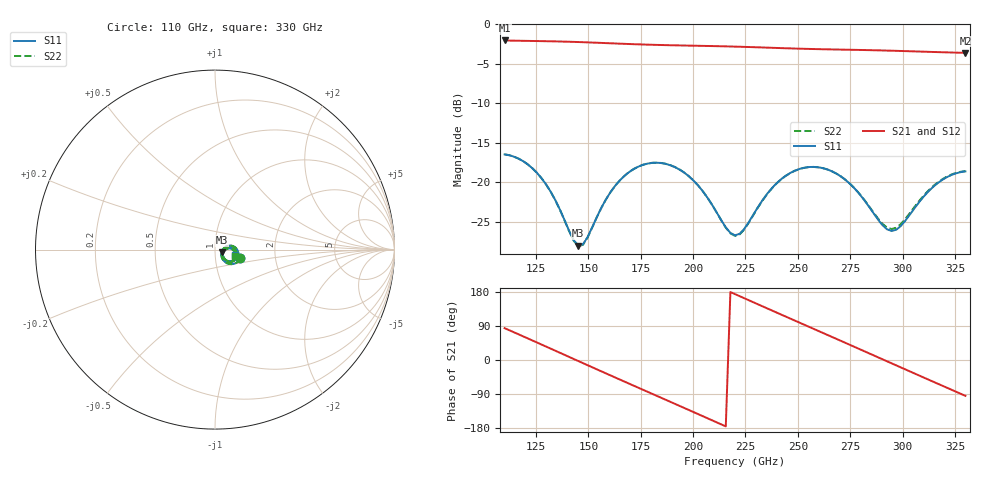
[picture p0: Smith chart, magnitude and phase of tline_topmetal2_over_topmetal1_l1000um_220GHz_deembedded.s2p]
! Created with skrf 2.2.0 (http://scikit-rf.org).
# GHz S DB R 50.0
! Port[1] = P1
! Port[2] = P2
!freq dBS11 angS11 dBS21 angS21 dBS12 angS12 dBS22 angS22
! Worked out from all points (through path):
!   101 points, 110 GHz to 330 GHz, reference 50 ohm
!   highest |S21| = -2.05 dB at 110 GHz (marker M1); lowest = -3.6 dB at 330 GHz (marker M2)
!   group delay of S21, straight-line fit = 6.8 ps
!   lowest |S11| = -28.0 dB at 145.2 GHz (marker M3), VSWR 1.08, Z = 53.8 - j1.58 ohm
!   |S11| at or under -10 dB: start of sweep to end of sweep
!   |S22| runs from -28.1 to -16.5 dB; largest |S21 - S12| = 9.1e-14
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110  -16.48 -18.8  -2.05 84.0  -2.05 84.0  -16.47 -19.1
118.8  -17.33 -34.2  -2.10 62.5  -2.10 62.5  -17.32 -34.5
129.8  -20.28 -49.5  -2.15 35.4  -2.15 35.4  -20.28 -49.9
145.2  -28.01 -21.6  -2.25 -2.8  -2.25 -2.8  -28.09 -21.9
147.4  -27.84 -8.1  -2.27 -8.2  -2.27 -8.2  -27.92 -8.2
156.2  -23.23 16.2  -2.36 -29.9  -2.36 -29.9  -23.24 16.2
167.2  -19.20 8.1  -2.48 -56.9  -2.48 -56.9  -19.19 8.0
176  -17.80 -5.1  -2.56 -78.4  -2.56 -78.4  -17.79 -5.3
184.8  -17.57 -19.4  -2.63 -99.8  -2.63 -99.8  -17.56 -19.6
193.6  -18.41 -32.9  -2.68 -121.3  -2.68 -121.3  -18.40 -33.2
204.6  -21.13 -44.7  -2.74 -148.2  -2.74 -148.2  -21.12 -45.1
220  -26.72 -18.5  -2.83 173.9  -2.83 173.9  -26.79 -19.0
228.8  -24.08 8.0  -2.90 152.3  -2.90 152.3  -24.14 8.0
239.8  -20.14 6.3  -3.00 125.4  -3.00 125.4  -20.17 6.3
257.4  -18.06 -17.8  -3.14 82.5  -3.14 82.5  -18.07 -17.7
266.2  -18.60 -30.7  -3.19 61.1  -3.19 61.1  -18.60 -30.5
277.2  -20.82 -42.8  -3.24 34.3  -3.24 34.3  -20.79 -42.3
286  -23.87 -42.1  -3.29 12.7  -3.29 12.7  -23.77 -41.4
294.8  -26.17 -19.9  -3.35 -8.8  -3.35 -8.8  -25.92 -19.8
303.6  -24.06 2.5  -3.42 -30.4  -3.42 -30.4  -23.86 1.5
314.6  -20.59 2.2  -3.51 -57.2  -3.51 -57.2  -20.49 1.1
330  -18.63 -16.2  -3.62 -94.6  -3.62 -94.6  -18.58 -17.3
